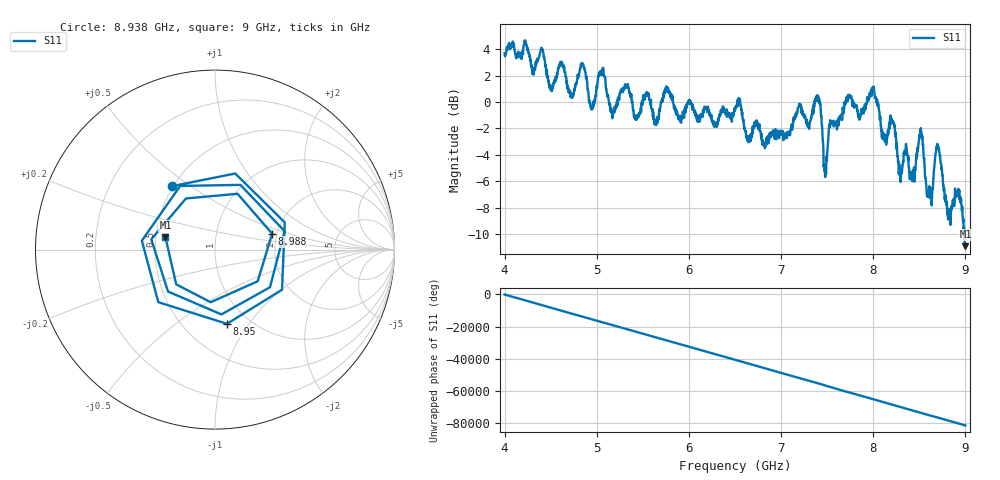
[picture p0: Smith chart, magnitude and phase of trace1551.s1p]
! Created with skrf 1.8.0 (http://scikit-rf.org).
# Hz S RI R 50.0
!freq ReS11 ImS11
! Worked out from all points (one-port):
!   1601 points, 4 GHz to 9 GHz, reference 50 ohm
!   lowest |S11| = -10.9 dB at 9 GHz (marker M1), VSWR 1.79, Z = 28.1 + j4.16 ohm
!   |S11| at or under -10 dB: 8.989207 GHz to end of sweep
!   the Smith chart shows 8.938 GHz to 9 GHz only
!   S11 on the Smith chart (normalised r, x): 8.938 GHz: 0.49, +0.43; 8.95 GHz: 0.79, -0.79; 8.988 GHz: 1.89, +0.37; 9 GHz: 0.56, +0.08
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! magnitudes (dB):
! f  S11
! 4 GHz  3.7
! 4.625 GHz  2.9
! 4.728 GHz  0.4
! 4.853 GHz  2.8
! 4.941 GHz  -0.5
! 5.05 GHz  2.1
! 5.159 GHz  -0.8
! 5.25 GHz  0.7
! 5.875 GHz  -1.0
! 6.5 GHz  -0.7
! 6.822 GHz  -3.3
! 7.125 GHz  -1.9
! 7.403 GHz  0.4
! 7.484 GHz  -4.9
! 7.75 GHz  0.3
! 8 GHz  1.2
! 8.116 GHz  -2.7
! 8.222 GHz  -1.6
! 8.294 GHz  -5.5
! 8.375 GHz  -4.2
! 8.516 GHz  -2.0
! 8.609 GHz  -6.4
! 8.7 GHz  -3.2
! 8.816 GHz  -8.8
! 8.938 GHz  -7.4
! 8.95 GHz  -7.6
! 8.988 GHz  -9.6
! 9 GHz  -10.9
